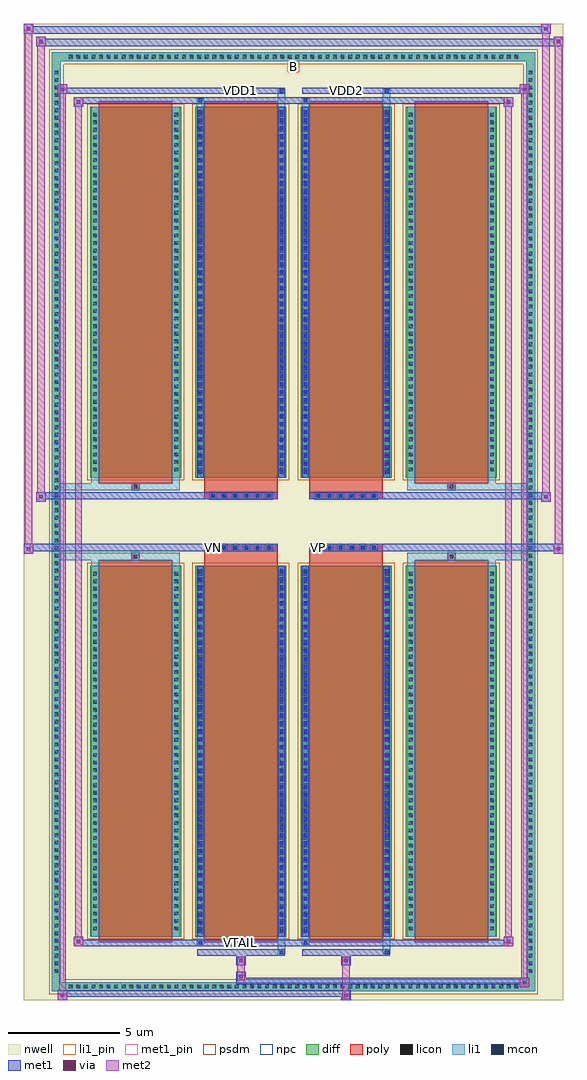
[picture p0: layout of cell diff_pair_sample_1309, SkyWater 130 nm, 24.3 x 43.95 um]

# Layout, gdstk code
import gdstk
lib = gdstk.Library(unit=1e-6, precision=5e-09)
def R(c, l, rs):  # rectangles x0, y0, x1, y1
    for r in rs: c.add(gdstk.rectangle(r[:2], r[2:], *l))
def A(c, l, x, y, w, h, nx, ny, dx, dy):  # array of equal rectangles
    R(c, l, [(x+i*dx, y+j*dy, x+i*dx+w, y+j*dy+h) for i in range(nx) for j in range(ny)])
def P(c, l, *ps):  # polygons
    for p in ps: c.add(gdstk.Polygon(p, *l))
nwell = (64, 20)
diff = (65, 20)
poly = (66, 20)
licon = (66, 44)
li1_pin = (67, 16)
li1 = (67, 20)
mcon = (67, 44)
met1_pin = (68, 16)
met1 = (68, 20)
via = (68, 44)
met2 = (69, 20)
psdm = (94, 20)
npc = (95, 20)

diff_pair_sample_1309 = lib.new_cell('diff_pair_sample_1309')
R(diff_pair_sample_1309, nwell, [(-12.15,-21.54,12.15,22.41), (-9.47,-19.73,-0.01,-0.805), (0.01,-19.73,9.47,-0.805), (-9.47,0.805,-0.01,19.73), (0.01,0.805,9.47,19.73)])
A(diff_pair_sample_1309, diff, -10.235, -21.14, 0.41, 0.41, 60, 2, 0.34, 41.87)
A(diff_pair_sample_1309, diff, -10.88, -20.435, 0.41, 0.41, 1, 120, 0, 0.34)
A(diff_pair_sample_1309, diff, 10.47, -20.435, 0.41, 0.41, 1, 120, 0, 0.34)
A(diff_pair_sample_1309, diff, -9.16, -18.685, 4.1, 16.7, 4, 2, 4.74, 20.67)
R(diff_pair_sample_1309, diff, [(-10.235,-21.14,10.235,-20.73), (-10.88,-20.435,-10.47,20.435), (10.47,-20.435,10.88,20.435), (-10.235,20.73,10.235,21.14)])
P(diff_pair_sample_1309, diff, [(10.88,21.14),(-10.88,21.14),(-10.88,-20.73),(-10.47,-20.73),(-10.47,20.73),(10.47,20.73),(10.47,-20.73),(-10.47,-20.73),(-10.88,-20.73),(-10.88,-21.14),(10.88,-21.14)])
A(diff_pair_sample_1309, poly, -8.77, -18.935, 3.32, 17.2, 4, 2, 4.74, 20.67)
A(diff_pair_sample_1309, poly, -3.785, -1.335, 0.33, 0.33, 6, 2, 0.5, 2.34)
A(diff_pair_sample_1309, poly, 0.955, -1.335, 0.33, 0.33, 6, 2, 0.5, 2.34)
R(diff_pair_sample_1309, poly, [(-7.275,-1.735,-6.945,-1.405), (-7.275,-1.735,-6.945,-1.405), (-4.03,-1.735,-0.71,-1.335), (0.71,-1.735,4.03,-1.335), (6.945,-1.735,7.275,-1.405), (6.945,-1.735,7.275,-1.405), (-4.03,-1.335,-0.71,-1.005), (0.71,-1.335,4.03,-1.005), (-4.03,1.005,-0.71,1.335), (0.71,1.005,4.03,1.335), (-4.03,1.335,-0.71,1.735), (0.71,1.335,4.03,1.735), (-7.275,1.405,-6.945,1.735), (-7.275,1.405,-6.945,1.735), (6.945,1.405,7.275,1.735), (6.945,1.405,7.275,1.735)])
A(diff_pair_sample_1309, licon, -10.115, -21.02, 0.17, 0.17, 60, 2, 0.34, 41.87)
A(diff_pair_sample_1309, licon, -10.76, -20.315, 0.17, 0.17, 1, 120, 0, 0.34)
A(diff_pair_sample_1309, licon, 10.59, -20.315, 0.17, 0.17, 1, 120, 0, 0.34)
A(diff_pair_sample_1309, licon, -9.02, -18.41, 0.17, 0.17, 1, 48, 0, 0.34)
A(diff_pair_sample_1309, licon, -5.37, -18.41, 0.17, 0.17, 1, 48, 0, 0.34)
A(diff_pair_sample_1309, licon, -4.28, -18.41, 0.17, 0.17, 1, 48, 0, 0.34)
A(diff_pair_sample_1309, licon, -0.63, -18.41, 0.17, 0.17, 1, 48, 0, 0.34)
A(diff_pair_sample_1309, licon, 0.46, -18.41, 0.17, 0.17, 1, 48, 0, 0.34)
A(diff_pair_sample_1309, licon, 4.11, -18.41, 0.17, 0.17, 1, 48, 0, 0.34)
A(diff_pair_sample_1309, licon, 5.2, -18.41, 0.17, 0.17, 1, 48, 0, 0.34)
A(diff_pair_sample_1309, licon, 8.85, -18.41, 0.17, 0.17, 1, 48, 0, 0.34)
A(diff_pair_sample_1309, licon, -3.705, -1.255, 0.17, 0.17, 6, 2, 0.5, 2.34)
A(diff_pair_sample_1309, licon, 1.035, -1.255, 0.17, 0.17, 6, 2, 0.5, 2.34)
A(diff_pair_sample_1309, licon, -9.02, 2.26, 0.17, 0.17, 1, 48, 0, 0.34)
A(diff_pair_sample_1309, licon, -5.37, 2.26, 0.17, 0.17, 1, 48, 0, 0.34)
A(diff_pair_sample_1309, licon, -4.28, 2.26, 0.17, 0.17, 1, 48, 0, 0.34)
A(diff_pair_sample_1309, licon, -0.63, 2.26, 0.17, 0.17, 1, 48, 0, 0.34)
A(diff_pair_sample_1309, licon, 0.46, 2.26, 0.17, 0.17, 1, 48, 0, 0.34)
A(diff_pair_sample_1309, licon, 4.11, 2.26, 0.17, 0.17, 1, 48, 0, 0.34)
A(diff_pair_sample_1309, licon, 5.2, 2.26, 0.17, 0.17, 1, 48, 0, 0.34)
A(diff_pair_sample_1309, licon, 8.85, 2.26, 0.17, 0.17, 1, 48, 0, 0.34)
R(diff_pair_sample_1309, licon, [(-7.195,-1.655,-7.025,-1.485), (7.025,-1.655,7.195,-1.485), (-7.195,1.485,-7.025,1.655), (7.025,1.485,7.195,1.655)])
R(diff_pair_sample_1309, li1_pin, [(-0.25,20.23,0.25,20.73)])
A(diff_pair_sample_1309, li1, -10.195, -21.1, 0.33, 0.33, 60, 2, 0.34, 41.87)
A(diff_pair_sample_1309, li1, -10.84, -20.395, 0.33, 0.33, 1, 120, 0, 0.34)
A(diff_pair_sample_1309, li1, 10.51, -20.395, 0.33, 0.33, 1, 120, 0, 0.34)
A(diff_pair_sample_1309, li1, -4.28, -18.52, 0.17, 0.17, 1, 46, 0, 0.36)
A(diff_pair_sample_1309, li1, -0.63, -18.52, 0.17, 0.17, 1, 46, 0, 0.36)
A(diff_pair_sample_1309, li1, 0.46, -18.52, 0.17, 0.17, 1, 46, 0, 0.36)
A(diff_pair_sample_1309, li1, 4.11, -18.52, 0.17, 0.17, 1, 46, 0, 0.36)
A(diff_pair_sample_1309, li1, -9.1, -18.49, 0.33, 0.33, 1, 48, 0, 0.34)
A(diff_pair_sample_1309, li1, -5.45, -18.49, 0.33, 0.33, 1, 48, 0, 0.34)
A(diff_pair_sample_1309, li1, -4.36, -18.49, 0.33, 0.33, 1, 48, 0, 0.34)
A(diff_pair_sample_1309, li1, -0.71, -18.49, 0.33, 0.33, 1, 48, 0, 0.34)
A(diff_pair_sample_1309, li1, 0.38, -18.49, 0.33, 0.33, 1, 48, 0, 0.34)
A(diff_pair_sample_1309, li1, 4.03, -18.49, 0.33, 0.33, 1, 48, 0, 0.34)
A(diff_pair_sample_1309, li1, 5.12, -18.49, 0.33, 0.33, 1, 48, 0, 0.34)
A(diff_pair_sample_1309, li1, 8.77, -18.49, 0.33, 0.33, 1, 48, 0, 0.34)
A(diff_pair_sample_1309, li1, -3.785, -1.335, 0.33, 0.33, 6, 2, 0.5, 2.34)
A(diff_pair_sample_1309, li1, 0.955, -1.335, 0.33, 0.33, 6, 2, 0.5, 2.34)
A(diff_pair_sample_1309, li1, -4.28, 2.15, 0.17, 0.17, 1, 46, 0, 0.36)
A(diff_pair_sample_1309, li1, -0.63, 2.15, 0.17, 0.17, 1, 46, 0, 0.36)
A(diff_pair_sample_1309, li1, 0.46, 2.15, 0.17, 0.17, 1, 46, 0, 0.36)
A(diff_pair_sample_1309, li1, 4.11, 2.15, 0.17, 0.17, 1, 46, 0, 0.36)
A(diff_pair_sample_1309, li1, -9.1, 2.18, 0.33, 0.33, 1, 48, 0, 0.34)
A(diff_pair_sample_1309, li1, -5.45, 2.18, 0.33, 0.33, 1, 48, 0, 0.34)
A(diff_pair_sample_1309, li1, -4.36, 2.18, 0.33, 0.33, 1, 48, 0, 0.34)
A(diff_pair_sample_1309, li1, -0.71, 2.18, 0.33, 0.33, 1, 48, 0, 0.34)
A(diff_pair_sample_1309, li1, 0.38, 2.18, 0.33, 0.33, 1, 48, 0, 0.34)
A(diff_pair_sample_1309, li1, 4.03, 2.18, 0.33, 0.33, 1, 48, 0, 0.34)
A(diff_pair_sample_1309, li1, 5.12, 2.18, 0.33, 0.33, 1, 48, 0, 0.34)
A(diff_pair_sample_1309, li1, 8.77, 2.18, 0.33, 0.33, 1, 48, 0, 0.34)
R(diff_pair_sample_1309, li1, [(-10.88,-21.14,-10.47,-20.73), (-10.88,-21.14,-10.47,-20.73), (-10.47,-21.14,10.47,-20.73), (10.47,-21.14,10.88,-20.73), (10.47,-21.14,10.88,-20.73), (-10.88,-20.73,-10.47,20.73), (10.47,-20.73,10.88,20.73), (-0.71,-19.49,-0.38,-18.685), (-0.63,-19.49,-0.46,-19.32), (4.03,-19.49,4.36,-18.685), (4.11,-19.49,4.28,-19.32), (-4.36,-19.06,-4.03,-18.685), (-4.28,-19.06,-4.11,-18.89), (0.38,-19.06,0.71,-18.685), (0.46,-19.06,0.63,-18.89), (-9.1,-18.685,-8.77,-1.985), (-5.45,-18.685,-5.12,-1.985), (-4.36,-18.685,-4.03,-1.985), (-0.71,-18.685,-0.38,-1.985), (0.38,-18.685,0.71,-1.985), (4.03,-18.685,4.36,-1.985), (5.12,-18.685,5.45,-1.985), (8.77,-18.685,9.1,-1.985), (-4.28,-18.52,-4.11,-2.15), (-0.63,-18.52,-0.46,-2.15), (0.46,-18.52,0.63,-2.15), (4.11,-18.52,4.28,-2.15), (-9.1,-1.985,-8.77,-1.405), (-5.45,-1.985,-5.12,-1.405), (5.12,-1.985,5.45,-1.405), (8.77,-1.985,9.1,-1.405), (-10.88,-1.735,-7.275,-1.405), (-9.1,-1.735,-7.275,-1.405), (-7.275,-1.735,-6.945,-1.405), (-6.945,-1.735,-5.12,-1.405), (5.12,-1.735,6.945,-1.405), (6.945,-1.735,7.275,-1.405), (6.945,-1.735,10.88,-1.405), (7.275,-1.735,9.1,-1.405), (-10.88,1.405,-7.275,1.735), (-9.1,1.405,-7.275,1.735), (-9.1,1.405,-8.77,1.985), (-7.275,1.405,-6.945,1.735), (-6.945,1.405,-5.12,1.735), (-5.45,1.405,-5.12,1.985), (5.12,1.405,6.945,1.735), (5.12,1.405,5.45,1.985), (6.945,1.405,7.275,1.735), (6.945,1.405,10.88,1.735), (7.275,1.405,9.1,1.735), (8.77,1.405,9.1,1.985), (-9.1,1.985,-8.77,18.685), (-5.45,1.985,-5.12,18.685), (-4.36,1.985,-4.03,18.685), (-0.71,1.985,-0.38,18.685), (0.38,1.985,0.71,18.685), (4.03,1.985,4.36,18.685), (5.12,1.985,5.45,18.685), (8.77,1.985,9.1,18.685), (-4.28,2.15,-4.11,18.52), (-0.63,2.15,-0.46,18.52), (0.46,2.15,0.63,18.52), (4.11,2.15,4.28,18.52), (-4.36,18.685,-4.03,19.06), (-0.71,18.685,-0.38,19.49), (0.38,18.685,0.71,19.06), (4.03,18.685,4.36,19.49), (-4.28,18.89,-4.11,19.06), (0.46,18.89,0.63,19.06), (-0.63,19.32,-0.46,19.49), (4.11,19.32,4.28,19.49), (-10.88,20.73,-10.47,21.14), (-10.88,20.73,-10.47,21.14), (-10.47,20.73,10.47,21.14), (10.47,20.73,10.88,21.14), (10.47,20.73,10.88,21.14)])
A(diff_pair_sample_1309, mcon, -4.28, -18.52, 0.17, 0.17, 1, 46, 0, 0.36)
A(diff_pair_sample_1309, mcon, -0.63, -18.52, 0.17, 0.17, 1, 46, 0, 0.36)
A(diff_pair_sample_1309, mcon, 0.46, -18.52, 0.17, 0.17, 1, 46, 0, 0.36)
A(diff_pair_sample_1309, mcon, 4.11, -18.52, 0.17, 0.17, 1, 46, 0, 0.36)
A(diff_pair_sample_1309, mcon, -3.705, -1.255, 0.17, 0.17, 6, 2, 0.5, 2.34)
A(diff_pair_sample_1309, mcon, 1.035, -1.255, 0.17, 0.17, 6, 2, 0.5, 2.34)
A(diff_pair_sample_1309, mcon, -4.28, 2.15, 0.17, 0.17, 1, 46, 0, 0.36)
A(diff_pair_sample_1309, mcon, -0.63, 2.15, 0.17, 0.17, 1, 46, 0, 0.36)
A(diff_pair_sample_1309, mcon, 0.46, 2.15, 0.17, 0.17, 1, 46, 0, 0.36)
A(diff_pair_sample_1309, mcon, 4.11, 2.15, 0.17, 0.17, 1, 46, 0, 0.36)
R(diff_pair_sample_1309, mcon, [(-0.63,-19.49,-0.46,-19.32), (4.11,-19.49,4.28,-19.32), (-4.28,-19.06,-4.11,-18.89), (0.46,-19.06,0.63,-18.89), (-4.28,18.89,-4.11,19.06), (0.46,18.89,0.63,19.06), (-0.63,19.32,-0.46,19.49), (4.11,19.32,4.28,19.49)])
R(diff_pair_sample_1309, met1_pin, [(-2.505,-19.1,-2.235,-18.83), (-3.755,-1.295,-3.485,-1.025), (0.985,-1.295,1.255,-1.025), (-2.505,19.28,-2.235,19.55), (2.235,19.28,2.505,19.55)])
A(diff_pair_sample_1309, met1, -4.34, -18.58, 0.29, 0.29, 1, 46, 0, 0.36)
A(diff_pair_sample_1309, met1, -0.69, -18.58, 0.29, 0.29, 1, 46, 0, 0.36)
A(diff_pair_sample_1309, met1, 0.4, -18.58, 0.29, 0.29, 1, 46, 0, 0.36)
A(diff_pair_sample_1309, met1, 4.05, -18.58, 0.29, 0.29, 1, 46, 0, 0.36)
A(diff_pair_sample_1309, met1, -3.765, -1.315, 0.29, 0.29, 6, 2, 0.5, 2.34)
A(diff_pair_sample_1309, met1, 0.975, -1.315, 0.29, 0.29, 6, 2, 0.5, 2.34)
A(diff_pair_sample_1309, met1, -4.34, 2.09, 0.29, 0.29, 1, 46, 0, 0.36)
A(diff_pair_sample_1309, met1, -0.69, 2.09, 0.29, 0.29, 1, 46, 0, 0.36)
A(diff_pair_sample_1309, met1, 0.4, 2.09, 0.29, 0.29, 1, 46, 0, 0.36)
A(diff_pair_sample_1309, met1, 4.05, 2.09, 0.29, 0.29, 1, 46, 0, 0.36)
R(diff_pair_sample_1309, met1, [(-10.61,-21.54,-10.18,-21.11), (2.155,-21.54,2.585,-21.11), (-10.61,-21.4,2.585,-21.11), (10.18,-20.97,10.61,-20.54), (-2.585,-20.83,10.61,-20.54), (-2.585,-20.69,-2.155,-20.26), (-2.585,-19.98,-2.155,-19.55), (2.155,-19.98,2.585,-19.55), (-4.34,-19.55,-0.4,-19.26), (-0.69,-19.55,-0.4,-19.26), (0.4,-19.55,4.34,-19.26), (4.05,-19.55,4.34,-19.26), (-9.9,-19.12,-9.47,-18.69), (-9.9,-19.12,-4.34,-18.83), (-4.34,-19.12,-4.05,-18.83), (-4.34,-19.12,-0.4,-18.83), (-0.4,-19.12,0.4,-18.83), (0.4,-19.12,0.69,-18.83), (0.4,-19.12,4.34,-18.83), (4.34,-19.12,9.9,-18.83), (9.47,-19.12,9.9,-18.69), (-4.34,-18.685,-4.05,-1.985), (-0.69,-18.685,-0.4,-1.985), (0.4,-18.685,0.69,-1.985), (4.05,-18.685,4.34,-1.985), (-12.15,-1.435,-11.72,-1.005), (11.72,-1.435,12.15,-1.005), (-12.15,-1.335,-0.71,-1.005), (-4.03,-1.335,-0.71,-1.005), (0.71,-1.335,4.03,-1.005), (0.71,-1.335,12.15,-1.005), (-11.58,0.905,-11.15,1.335), (11.15,0.905,11.58,1.335), (-11.58,1.005,-4.03,1.335), (-4.03,1.005,-0.71,1.335), (0.71,1.005,4.03,1.335), (4.03,1.005,11.58,1.335), (-4.34,1.985,-4.05,18.685), (-0.69,1.985,-0.4,18.685), (0.4,1.985,0.69,18.685), (4.05,1.985,4.34,18.685), (-9.9,18.69,-9.47,19.12), (9.47,18.69,9.9,19.12), (-9.9,18.83,-4.34,19.12), (-4.34,18.83,-4.05,19.12), (-4.34,18.83,-0.4,19.12), (-0.4,18.83,0.4,19.12), (0.4,18.83,0.69,19.12), (0.4,18.83,4.34,19.12), (4.34,18.83,9.9,19.12), (-10.61,19.26,-10.18,19.69), (-10.61,19.26,-4.34,19.55), (-4.34,19.26,-0.4,19.55), (-0.69,19.26,-0.4,19.55), (0.4,19.26,4.34,19.55), (4.05,19.26,4.34,19.55), (4.34,19.26,10.61,19.55), (10.18,19.26,10.61,19.69), (-11.58,21.41,-11.15,21.84), (-11.58,21.41,-9.47,21.74), (-9.47,21.41,9.47,21.74), (9.47,21.41,12.15,21.74), (11.72,21.41,12.15,21.84), (-12.15,21.98,-11.72,22.41), (-12.15,21.98,-9.47,22.31), (-9.47,21.98,9.47,22.31), (9.47,21.98,11.58,22.31), (11.15,21.98,11.58,22.41)])
R(diff_pair_sample_1309, via, [(-10.47,-21.4,-10.32,-21.25), (2.295,-21.4,2.445,-21.25), (10.32,-20.83,10.47,-20.68), (-2.445,-20.55,-2.295,-20.4), (-2.445,-19.84,-2.295,-19.69), (2.295,-19.84,2.445,-19.69), (-9.76,-18.98,-9.61,-18.83), (9.61,-18.98,9.76,-18.83), (-12.01,-1.295,-11.86,-1.145), (11.86,-1.295,12.01,-1.145), (-11.44,1.045,-11.29,1.195), (11.29,1.045,11.44,1.195), (-9.76,18.83,-9.61,18.98), (9.61,18.83,9.76,18.98), (-10.47,19.4,-10.32,19.55), (10.32,19.4,10.47,19.55), (-11.44,21.55,-11.29,21.7), (11.86,21.55,12.01,21.7), (-12.01,22.12,-11.86,22.27), (11.29,22.12,11.44,22.27)])
R(diff_pair_sample_1309, met2, [(-10.61,-21.54,-10.18,-21.11), (-10.54,-21.54,-10.25,19.69), (-10.25,-21.54,-10.18,-21.11), (-10.56,-21.49,-10.23,-21.16), (2.205,-21.49,2.535,-21.16), (2.205,-21.16,2.535,-19.93), (10.18,-20.97,10.61,-20.54), (10.25,-20.97,10.54,19.69), (10.54,-20.97,10.61,-20.54), (10.23,-20.92,10.56,-20.59), (-2.535,-20.64,-2.205,-20.31), (-2.535,-20.31,-2.205,-19.93), (-2.535,-19.93,-2.205,-19.6), (2.205,-19.93,2.535,-19.6), (-9.9,-19.12,-9.47,-18.69), (-9.83,-19.12,-9.54,19.12), (-9.54,-19.12,-9.47,-18.69), (9.47,-19.12,9.9,-18.69), (9.54,-19.12,9.83,19.12), (9.83,-19.12,9.9,-18.69), (-9.85,-19.07,-9.52,-18.74), (9.52,-19.07,9.85,-18.74), (-12.15,-1.435,-11.72,-1.005), (-12.1,-1.435,-11.77,22.41), (-11.77,-1.435,-11.72,-1.005), (11.72,-1.435,12.15,-1.005), (11.77,-1.435,12.1,21.84), (12.1,-1.435,12.15,-1.005), (-12.1,-1.385,-11.77,-1.055), (11.77,-1.385,12.1,-1.055), (-11.58,0.905,-11.15,1.335), (-11.53,0.905,-11.2,21.84), (-11.2,0.905,-11.15,1.335), (11.15,0.905,11.58,1.335), (11.2,0.905,11.53,22.41), (11.53,0.905,11.58,1.335), (-11.53,0.955,-11.2,1.285), (11.2,0.955,11.53,1.285), (-9.9,18.69,-9.47,19.12), (-9.54,18.69,-9.47,19.12), (9.47,18.69,9.9,19.12), (9.83,18.69,9.9,19.12), (-9.85,18.74,-9.52,19.07), (9.52,18.74,9.85,19.07), (-10.61,19.26,-10.18,19.69), (-10.25,19.26,-10.18,19.69), (10.18,19.26,10.61,19.69), (10.54,19.26,10.61,19.69), (-10.56,19.31,-10.23,19.64), (10.23,19.31,10.56,19.64), (-11.58,21.41,-11.15,21.84), (-11.2,21.41,-11.15,21.84), (11.72,21.41,12.15,21.84), (12.1,21.41,12.15,21.84), (-11.53,21.46,-11.2,21.79), (11.77,21.46,12.1,21.79), (-12.15,21.98,-11.72,22.41), (-11.77,21.98,-11.72,22.41), (11.15,21.98,11.58,22.41), (11.53,21.98,11.58,22.41), (-12.1,22.03,-11.77,22.36), (11.2,22.03,11.53,22.36)])
A(diff_pair_sample_1309, psdm, -9.29, -18.815, 4.36, 16.96, 4, 2, 4.74, 20.67)
P(diff_pair_sample_1309, psdm, [(11.01,21.27),(-11.01,21.27),(-11.01,-20.6),(-10.34,-20.6),(-10.34,20.6),(10.34,20.6),(10.34,-20.6),(-10.34,-20.6),(-11.01,-20.6),(-11.01,-21.27),(11.01,-21.27)])
A(diff_pair_sample_1309, npc, -3.805, -1.355, 0.37, 0.37, 6, 2, 0.5, 2.34)
A(diff_pair_sample_1309, npc, 0.935, -1.355, 0.37, 0.37, 6, 2, 0.5, 2.34)
R(diff_pair_sample_1309, npc, [(-7.295,-1.755,-6.925,-1.385), (6.925,-1.755,7.295,-1.385), (-3.805,-1.355,-2.935,-0.985), (-3.805,-1.355,-2.935,-0.985), (-3.305,-1.355,-2.435,-0.985), (-3.305,-1.355,-2.435,-0.985), (-2.805,-1.355,-1.935,-0.985), (-2.805,-1.355,-1.935,-0.985), (-2.305,-1.355,-1.435,-0.985), (-2.305,-1.355,-1.435,-0.985), (-1.805,-1.355,-0.935,-0.985), (-1.805,-1.355,-0.935,-0.985), (0.935,-1.355,1.805,-0.985), (0.935,-1.355,1.805,-0.985), (1.435,-1.355,2.305,-0.985), (1.435,-1.355,2.305,-0.985), (1.935,-1.355,2.805,-0.985), (1.935,-1.355,2.805,-0.985), (2.435,-1.355,3.305,-0.985), (2.435,-1.355,3.305,-0.985), (2.935,-1.355,3.805,-0.985), (2.935,-1.355,3.805,-0.985), (-3.805,0.985,-2.935,1.355), (-3.805,0.985,-2.935,1.355), (-3.305,0.985,-2.435,1.355), (-3.305,0.985,-2.435,1.355), (-2.805,0.985,-1.935,1.355), (-2.805,0.985,-1.935,1.355), (-2.305,0.985,-1.435,1.355), (-2.305,0.985,-1.435,1.355), (-1.805,0.985,-0.935,1.355), (-1.805,0.985,-0.935,1.355), (0.935,0.985,1.805,1.355), (0.935,0.985,1.805,1.355), (1.435,0.985,2.305,1.355), (1.435,0.985,2.305,1.355), (1.935,0.985,2.805,1.355), (1.935,0.985,2.805,1.355), (2.435,0.985,3.305,1.355), (2.435,0.985,3.305,1.355), (2.935,0.985,3.805,1.355), (2.935,0.985,3.805,1.355), (-7.295,1.385,-6.925,1.755), (6.925,1.385,7.295,1.755)])
diff_pair_sample_1309.add(gdstk.Label('VTAIL', (-2.37,-18.965), layer=68, texttype=5))
diff_pair_sample_1309.add(gdstk.Label('VN', (-3.62,-1.16), layer=68, texttype=5))
diff_pair_sample_1309.add(gdstk.Label('VP', (1.12,-1.16), layer=68, texttype=5))
diff_pair_sample_1309.add(gdstk.Label('B', (0,20.48), layer=67, texttype=5))
diff_pair_sample_1309.add(gdstk.Label('VDD2', (2.37,19.415), layer=68, texttype=5))
diff_pair_sample_1309.add(gdstk.Label('VDD1', (-2.37,19.415), layer=68, texttype=5))

lib.write_gds('diff_pair_sample_1309.gds')
